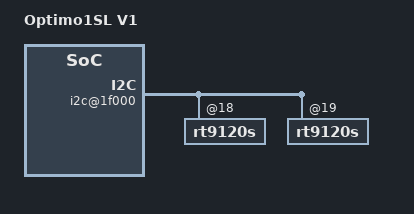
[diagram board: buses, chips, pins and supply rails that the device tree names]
/*
 * Copyright (c) 2021, Sonos, Inc.
 *
 * SPDX-License-Identifier:     GPL-2.0
 *
 * v0	- Optimo1SL p2a [first SL build came as part of p2a, with Richtek, no TI amp SLs]
 * v1	- Optimo1SL p2b - BT sync change
 */

/dts-v1/;

#include "optimo_common.dtsi"
#include "s767_1gbddr.dtsi"

/ {
	model = "Optimo1SL V1";

        sonos-product-id = <0x02>;

	sonos-platform {
		thermal-mgmt {
			/delete-node/ AMP;
		};
                /* No mic switch on SL */
                /delete-node/ gpio-switch;
	};

	memory@00000000 {
		device_type = "memory";
		linux,usable-memory = <0x0 0x000000 0x0 0x40000000>;
	};

	/* No mics on SL */
	/delete-node/ sonos-gpio-micctl;
	/delete-node/ micctl@1;

	soc {
		cbus@ffd00000 {
			i2c@1f000 {
				rt9120s@18 {
					status = "okay";
				};
				rt9120s@19 {
					/delete-property/ parallel-play;
					init-sequence-length2 = <15>;
					reg-init2 = < 0x63 0xDE 0x6C 0xC0 0x07 0x36 0x65 0x66 0x06 0x28
						0x02 0x03 0xA0 0x01 0xA1 0x08 0xA2 0x0C 0x27 0x01B0 0x20 0x0180 0x0c 0x38 0x09 0x81 0x6e 0x1d 0x10 0x00>;
					status = "okay";
				};
			};
		};
		aobus@ff800000 {
			i2c@5000 {
				/delete-node/ lp5562@0 ;
			};
		};
	};
};

#include "optimo1_captouch.dtsi"
